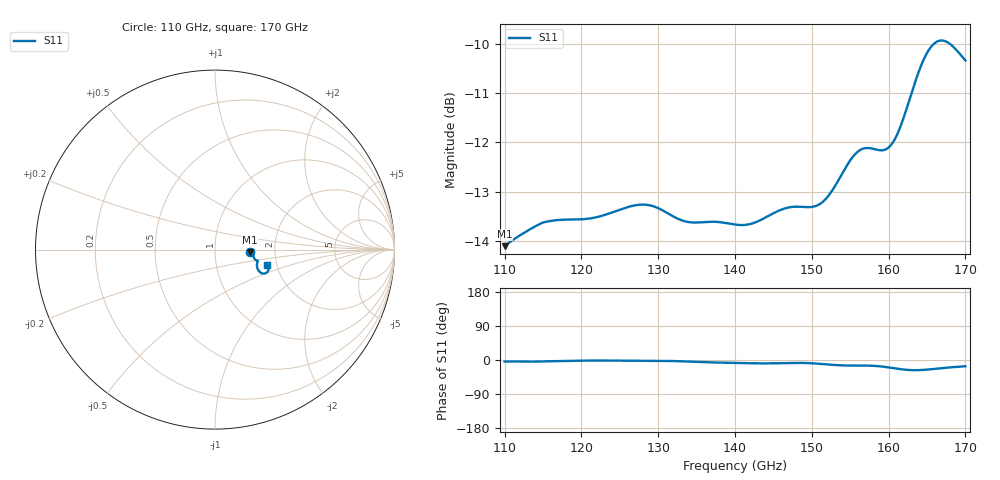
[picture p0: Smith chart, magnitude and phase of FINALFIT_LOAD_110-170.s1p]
! Generated by Phase I extraction
# Hz S RI R 50
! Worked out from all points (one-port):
!   1471 points, 110 GHz to 170 GHz, reference 50 ohm
!   lowest |S11| = -14.1 dB at 110 GHz (marker M1), VSWR 1.49, Z = 74.4 - j2.23 ohm
!   |S11| at or under -10 dB: start of sweep to 165.9 GHz; 167.9 GHz to end of sweep
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1.1e11  0.1966 -0.0144
1.147755e11  0.2074 -0.0141
1.175102e11  0.2094 -0.00974
1.213878e11  0.2104 -0.00518
1.250204e11  0.2145 -0.00668
1.286939e11  0.2168 -0.00729
1.325306e11  0.2099 -0.0112
1.342449e11  0.2078 -0.0158
1.4e11  0.2054 -0.0277
1.418776e11  0.2052 -0.0307
1.438776e11  0.208 -0.0327
1.475102e11  0.2141 -0.0288
1.494286e11  0.2137 -0.0304
1.513469e11  0.2146 -0.0401
1.526122e11  0.2187 -0.0491
1.550204e11  0.2331 -0.061
1.564898e11  0.2391 -0.0626
1.581224e11  0.2383 -0.0659
1.592653e11  0.2351 -0.0744
1.600816e11  0.2337 -0.0844
1.611837e11  0.2356 -0.1014
1.625306e11  0.2461 -0.1215
1.634286e11  0.2575 -0.1305
1.642449e11  0.2691 -0.1338
1.651429e11  0.2813 -0.1319
1.660408e11  0.2908 -0.1256
1.676327e11  0.2979 -0.1094
1.7e11  0.2916 -0.0861
